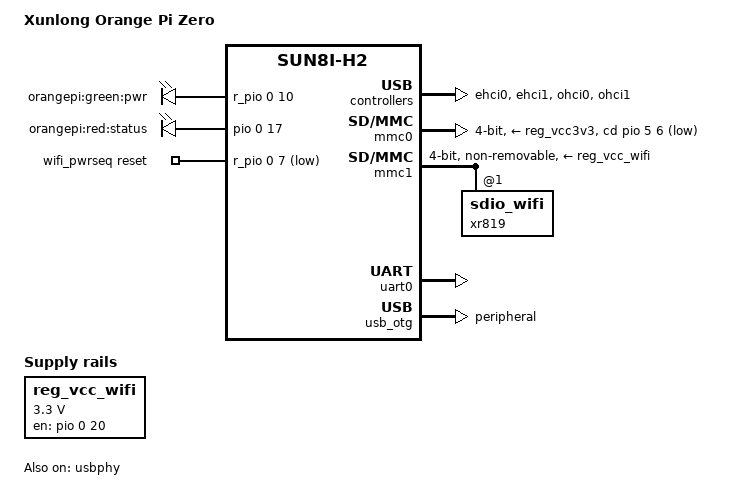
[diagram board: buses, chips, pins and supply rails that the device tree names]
/*
 * Copyright (C) 2016 Icenowy Zheng <icenowy@aosc.xyz>
 *
 * Based on sun8i-h3-orangepi-one.dts, which is:
 *   Copyright (C) 2016 Hans de Goede <hdegoede@redhat.com>
 *
 * This file is dual-licensed: you can use it either under the terms
 * of the GPL or the X11 license, at your option. Note that this dual
 * licensing only applies to this file, and not this project as a
 * whole.
 *
 *  a) This file is free software; you can redistribute it and/or
 *     modify it under the terms of the GNU General Public License as
 *     published by the Free Software Foundation; either version 2 of the
 *     License, or (at your option) any later version.
 *
 *     This file is distributed in the hope that it will be useful,
 *     but WITHOUT ANY WARRANTY; without even the implied warranty of
 *     MERCHANTABILITY or FITNESS FOR A PARTICULAR PURPOSE.  See the
 *     GNU General Public License for more details.
 *
 * Or, alternatively,
 *
 *  b) Permission is hereby granted, free of charge, to any person
 *     obtaining a copy of this software and associated documentation
 *     files (the "Software"), to deal in the Software without
 *     restriction, including without limitation the rights to use,
 *     copy, modify, merge, publish, distribute, sublicense, and/or
 *     sell copies of the Software, and to permit persons to whom the
 *     Software is furnished to do so, subject to the following
 *     conditions:
 *
 *     The above copyright notice and this permission notice shall be
 *     included in all copies or substantial portions of the Software.
 *
 *     THE SOFTWARE IS PROVIDED "AS IS", WITHOUT WARRANTY OF ANY KIND,
 *     EXPRESS OR IMPLIED, INCLUDING BUT NOT LIMITED TO THE WARRANTIES
 *     OF MERCHANTABILITY, FITNESS FOR A PARTICULAR PURPOSE AND
 *     NONINFRINGEMENT. IN NO EVENT SHALL THE AUTHORS OR COPYRIGHT
 *     HOLDERS BE LIABLE FOR ANY CLAIM, DAMAGES OR OTHER LIABILITY,
 *     WHETHER IN AN ACTION OF CONTRACT, TORT OR OTHERWISE, ARISING
 *     FROM, OUT OF OR IN CONNECTION WITH THE SOFTWARE OR THE USE OR
 *     OTHER DEALINGS IN THE SOFTWARE.
 */

/dts-v1/;
#include "sun8i-h3.dtsi"
#include "sunxi-common-regulators.dtsi"

#include <dt-bindings/gpio/gpio.h>
#include <dt-bindings/input/input.h>
#include <dt-bindings/pinctrl/sun4i-a10.h>

/ {
	model = "Xunlong Orange Pi Zero";
	compatible = "xunlong,orangepi-zero", "allwinner,sun8i-h2-plus";

	aliases {
		serial0 = &uart0;
		/* ethernet0 is the H3 emac, defined in sun8i-h3.dtsi */
		ethernet1 = &xr819;
	};

	chosen {
		stdout-path = "serial0:115200n8";
	};

	leds {
		compatible = "gpio-leds";

		pwr_led {
			label = "orangepi:green:pwr";
			gpios = <&r_pio 0 10 GPIO_ACTIVE_HIGH>;
			default-state = "on";
		};

		status_led {
			label = "orangepi:red:status";
			gpios = <&pio 0 17 GPIO_ACTIVE_HIGH>;
		};
	};

	reg_vcc_wifi: reg_vcc_wifi {
		compatible = "regulator-fixed";
		regulator-min-microvolt = <3300000>;
		regulator-max-microvolt = <3300000>;
		regulator-name = "vcc-wifi";
		enable-active-high;
		gpio = <&pio 0 20 GPIO_ACTIVE_HIGH>;
	};

	wifi_pwrseq: wifi_pwrseq {
		compatible = "mmc-pwrseq-simple";
		reset-gpios = <&r_pio 0 7 GPIO_ACTIVE_LOW>;
		post-power-on-delay-ms = <200>;
	};
};

&ehci0 {
	status = "okay";
};

&ehci1 {
	status = "okay";
};

&mmc0 {
	pinctrl-names = "default";
	pinctrl-0 = <&mmc0_pins_a>;
	vmmc-supply = <&reg_vcc3v3>;
	bus-width = <4>;
	cd-gpios = <&pio 5 6 GPIO_ACTIVE_HIGH>; /* PF6 */
	cd-inverted;
	status = "okay";
};

&mmc1 {
	pinctrl-names = "default";
	pinctrl-0 = <&mmc1_pins_a>;
	vmmc-supply = <&reg_vcc_wifi>;
	mmc-pwrseq = <&wifi_pwrseq>;
	bus-width = <4>;
	non-removable;
	status = "okay";

	/*
	 * Explicitly define the sdio device, so that we can add an ethernet
	 * alias for it (which e.g. makes u-boot set a mac-address).
	 */
	xr819: sdio_wifi@1 {
		reg = <1>;
	};
};

&mmc1_pins_a {
	bias-pull-up;
};

&ohci0 {
	status = "okay";
};

&ohci1 {
	status = "okay";
};

&uart0 {
	pinctrl-names = "default";
	pinctrl-0 = <&uart0_pins_a>;
	status = "okay";
};

&uart1 {
	pinctrl-names = "default";
	pinctrl-0 = <&uart1_pins>;
	status = "disabled";
};

&uart2 {
	pinctrl-names = "default";
	pinctrl-0 = <&uart2_pins>;
	status = "disabled";
};

&usb_otg {
	dr_mode = "peripheral";
	status = "okay";
};

&usbphy {
	/*
	 * USB Type-A port VBUS is always on. However, MicroUSB VBUS can only
	 * power up the board; when it's used as OTG port, this VBUS is
	 * always off even if the board is powered via GPIO pins.
	 */
	status = "okay";
	usb0_id_det-gpios = <&pio 6 12 GPIO_ACTIVE_HIGH>; /* PG12 */
};
